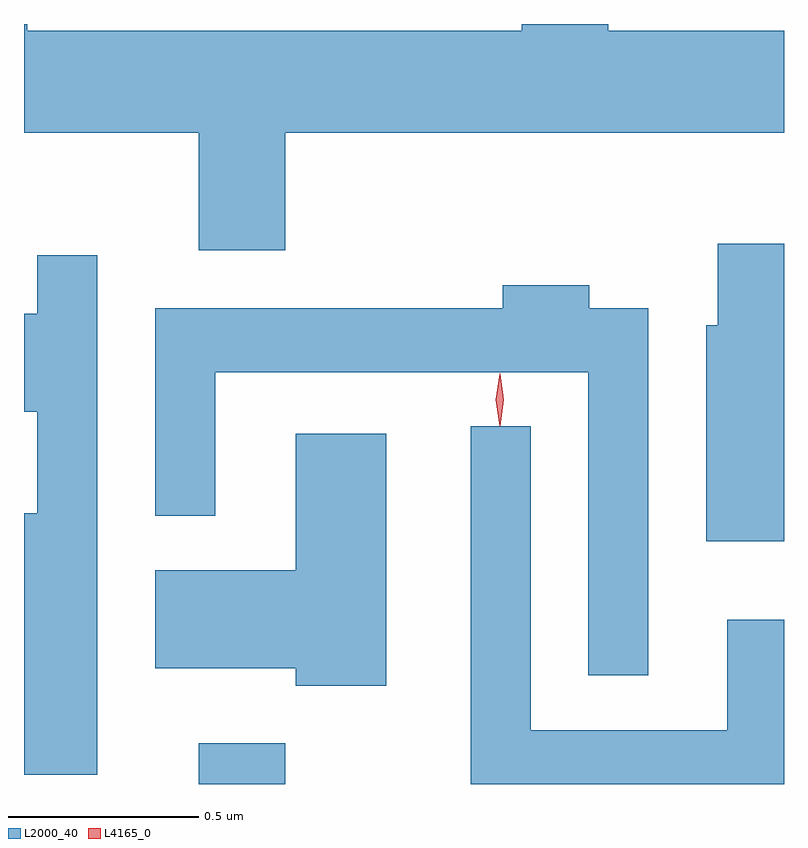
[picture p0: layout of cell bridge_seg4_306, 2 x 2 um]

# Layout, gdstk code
import gdstk
lib = gdstk.Library(unit=1e-6, precision=1e-09)
def R(c, l, rs):  # rectangles x0, y0, x1, y1
    for r in rs: c.add(gdstk.rectangle(r[:2], r[2:], *l))
def P(c, l, *ps):  # polygons
    for p in ps: c.add(gdstk.Polygon(p, *l))
L2000_40 = (2000, 40)
L4165_0 = (4165, 0)

bridge_seg4_306 = lib.new_cell('bridge_seg4_306')
R(bridge_seg4_306, L2000_40, [(551.741,1293.022,551.969,1293.129)])
P(bridge_seg4_306, L2000_40, [(551.969,1294.736),(553.281,1294.736),(553.281,1295.004),(552.819,1295.004),(552.819,1295.022),(552.591,1295.022),(552.591,1295.004),(551.289,1295.004),(551.289,1295.022),(551.281,1295.022),(551.281,1294.736),(551.741,1294.736),(551.741,1294.426),(551.969,1294.426)],
  [(553.281,1294.444),(553.106,1294.444),(553.106,1294.229),(553.076,1294.229),(553.076,1293.661),(553.281,1293.661)],
  [(551.474,1294.413),(551.316,1294.413),(551.316,1294.259),(551.281,1294.259),(551.281,1294.001),(551.316,1294.001),(551.316,1293.734),(551.281,1293.734),(551.281,1293.046),(551.474,1293.046)],
  [(552.924,1294.274),(552.769,1294.274),(552.769,1294.334),(552.541,1294.334),(552.541,1294.274),(551.626,1294.274),(551.626,1293.728),(551.784,1293.728),(551.784,1294.106),(552.766,1294.106),(552.766,1293.308),(552.924,1293.308)],
  [(553.281,1293.454),(553.131,1293.454),(553.131,1293.164),(552.614,1293.164),(552.614,1293.963),(552.456,1293.963),(552.456,1293.022),(553.281,1293.022)],
  [(552.234,1293.944),(551.996,1293.944),(551.996,1293.584),(551.626,1293.584),(551.626,1293.326),(551.996,1293.326),(551.996,1293.281),(552.234,1293.281)])
P(bridge_seg4_306, L4165_0, [(552.533,1293.964),(552.533,1293.964),(552.523,1294.033),(552.533,1294.102),(552.533,1294.103),(552.534,1294.102),(552.543,1294.033),(552.534,1293.964)])

lib.write_gds('bridge_seg4_306.gds')
